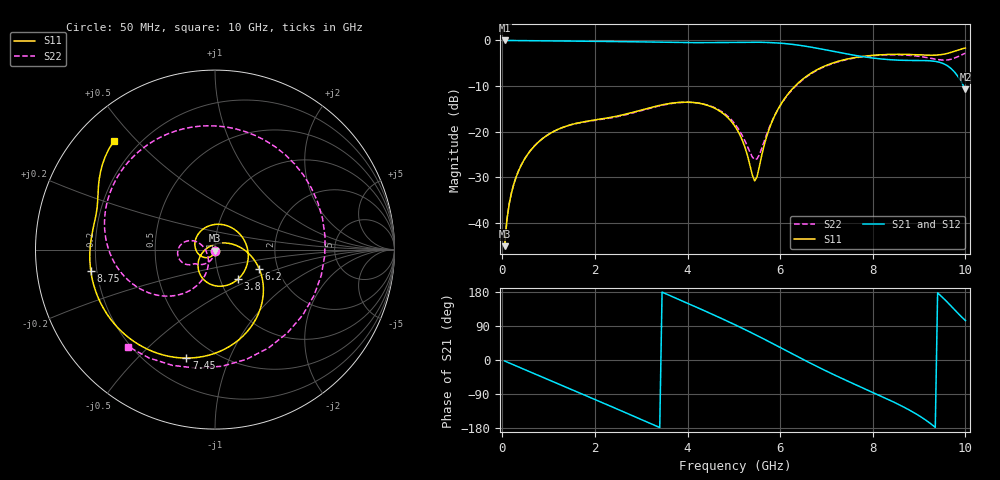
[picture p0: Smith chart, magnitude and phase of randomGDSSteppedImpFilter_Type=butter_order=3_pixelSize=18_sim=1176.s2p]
! freq	dB(S11)	phase(S11)	dB(S12)	phase(S12)
!  dB(S21)	phase(S21)	dB(S22)	phase(S22)
!S-par simulation data
#  GHz  S  DB  R 50
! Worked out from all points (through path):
!   200 points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, 50 MHz to 10 GHz, reference 50 ohm
!   highest |S21| = 0.00 dB at 50 MHz (marker M1); lowest = -10.7 dB at 10 GHz (marker M2)
!   group delay of S21, straight-line fit = 162 ps
!   lowest |S11| = -45.2 dB at 50 MHz (marker M3), VSWR 1.01, Z = 50 - j0.552 ohm
!   |S11| at or under -10 dB: start of sweep to 6.324 GHz
!   |S22| runs from -45.1 to -2.8 dB; largest |S21 - S12| = 0
!   S11 on the Smith chart (normalised r, x): 50 MHz: 1.00, -0.01; 3.8 GHz: 1.22, -0.42; 6.2 GHz: 1.60, -0.37; 7.45 GHz: 0.36, -0.71; 8.75 GHz: 0.18, -0.08; 10 GHz: 0.11, +0.43
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0.05  -45.15 -91.3  -0.00 -2.7  -0.00 -2.7  -45.12 -89.3
0.1  -39.29 -95.7  -0.01 -5.3  -0.01 -5.3  -39.26 -92.0
0.2  -33.39 -103.7  -0.02 -10.5  -0.02 -10.5  -33.35 -96.5
0.5  -25.74 -125.8  -0.05 -26.2  -0.05 -26.2  -25.70 -107.5
1.15  -19.76 -174.2  -0.12 -59.9  -0.12 -59.9  -19.77 -127.6
1.75  -17.87 136.0  -0.17 -91.1  -0.17 -91.1  -17.93 -140.3
2.65  -16.21 49.3  -0.27 -138.4  -0.27 -138.4  -16.34 -147.2
3.4  -14.25 -19.7  -0.39 -178.2  -0.39 -178.2  -14.34 -156.8
3.8  -13.61 -51.7  -0.45 160.4  -0.45 160.4  -13.66 -166.7
4.5  -14.49 -103.1  -0.47 122.6  -0.47 122.6  -14.41 171.1
5.05  -19.25 -146.7  -0.41 91.5  -0.41 91.5  -18.70 157.1
5.45  -30.81 115.2  -0.39 67.7  -0.39 67.7  -26.16 -163.0
5.8  -18.44 11.4  -0.48 45.9  -0.48 45.9  -18.28 -111.0
6.2  -11.39 -23.7  -0.79 20.3  -0.79 20.3  -11.50 -121.4
6.7  -6.99 -59.1  -1.53 -11.3  -1.53 -11.3  -7.11 -147.0
7.45  -4.08 -104.7  -2.98 -55.2  -2.98 -55.2  -4.17 171.7
8.35  -3.07 -151.3  -4.21 -105.0  -4.21 -105.0  -3.15 118.9
8.75  -3.07 -170.2  -4.38 -129.4  -4.38 -129.4  -3.24 89.3
9.1  -3.20 174.4  -4.42 -155.0  -4.42 -155.0  -3.64 53.4
9.45  -3.15 160.9  -4.82 171.6  -4.82 171.6  -4.26 -3.1
9.75  -2.42 148.4  -6.77 134.8  -6.77 134.8  -3.93 -74.0
10  -1.66 133.2  -10.73 104.2  -10.73 104.2  -2.79 -131.7
